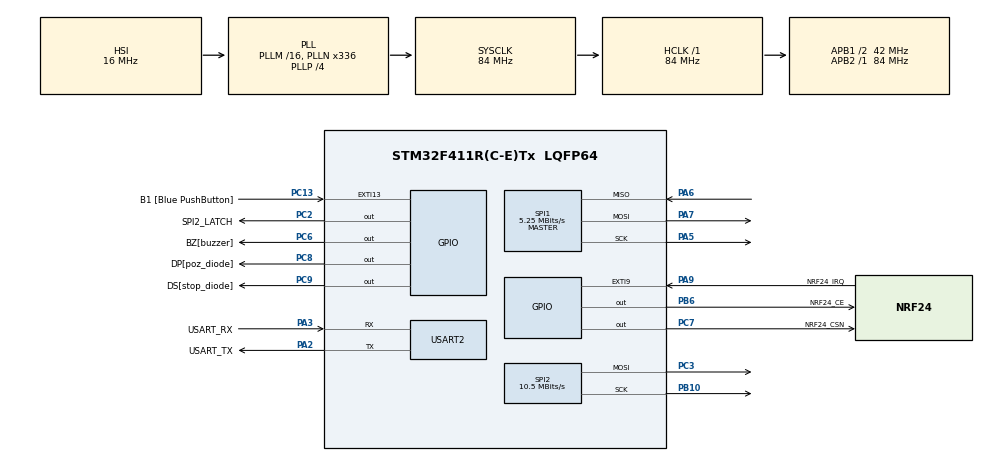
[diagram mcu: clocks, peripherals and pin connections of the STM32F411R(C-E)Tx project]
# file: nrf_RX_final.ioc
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Mcu.Family=STM32F4
Mcu.Name=STM32F411R(C-E)Tx
Mcu.Package=LQFP64
NVIC.PriorityGroup=NVIC_PRIORITYGROUP_0
PA13.GPIO_Label=TMS
PA13.Mode=Serial_Wire
PA13.Signal=SYS_JTMS-SWDIO
PA14.GPIO_Label=TCK
PA14.Mode=Serial_Wire
PA14.Signal=SYS_JTCK-SWCLK
PA2.GPIO_Label=USART_TX
PA2.Mode=Asynchronous
PA2.Signal=USART2_TX
PA3.GPIO_Label=USART_RX
PA3.Mode=Asynchronous
PA3.Signal=USART2_RX
PA5.Mode=Full_Duplex_Master
PA5.Signal=SPI1_SCK
PA6.Mode=Full_Duplex_Master
PA6.Signal=SPI1_MISO
PA7.Mode=Full_Duplex_Master
PA7.Signal=SPI1_MOSI
PA9.GPIO_Label=NRF24_IRQ
PA9.Signal=GPXTI9
PB10.Mode=TX_Only_Simplex_Unidirect_Master
PB10.Signal=SPI2_SCK
PB3.GPIO_Label=SWO
PB3.Signal=SYS_JTDO-SWO
PB6.GPIO_Label=NRF24_CE
PB6.Signal=GPIO_Output
PC13-ANTI_TAMP.GPIO_Label=B1 [Blue PushButton]
PC13-ANTI_TAMP.GPIO_ModeDefaultEXTI=GPIO_MODE_IT_FALLING
PC13-ANTI_TAMP.Signal=GPXTI13
PC14-OSC32_IN.Mode=LSE-External-Oscillator
PC14-OSC32_IN.Signal=RCC_OSC32_IN
PC15-OSC32_OUT.Mode=LSE-External-Oscillator
PC15-OSC32_OUT.Signal=RCC_OSC32_OUT
PC2.GPIO_Label=SPI2_LATCH
PC2.Signal=GPIO_Output
PC3.Mode=TX_Only_Simplex_Unidirect_Master
PC3.Signal=SPI2_MOSI
PC6.GPIO_Label=BZ[buzzer]
PC6.Signal=GPIO_Output
PC7.GPIO_Label=NRF24_CSN
PC7.Signal=GPIO_Output
PC8.GPIO_Label=DP[poz_diode]
PC8.Signal=GPIO_Output
PC9.GPIO_Label=DS[stop_diode]
PC9.Signal=GPIO_Output
PH0\ -\ OSC_IN.Mode=HSE-External-Clock-Source
PH0\ -\ OSC_IN.Signal=RCC_OSC_IN
PH1\ -\ OSC_OUT.Mode=HSE-External-Clock-Source
PH1\ -\ OSC_OUT.Signal=RCC_OSC_OUT
ProjectManager.HeapSize=0x200
ProjectManager.StackSize=0x400
ProjectManager.TargetToolchain=STM32CubeIDE
RCC.48MHZClocksFreq_Value=84000000
RCC.AHBFreq_Value=84000000
RCC.APB1CLKDivider=RCC_HCLK_DIV2
RCC.APB1Freq_Value=42000000
RCC.APB1TimFreq_Value=84000000
RCC.APB2Freq_Value=84000000
RCC.APB2TimFreq_Value=84000000
RCC.CortexFreq_Value=84000000
RCC.FLatency-AdvancedSettings=FLASH_LATENCY_2
RCC.HCLKFreq_Value=84000000
RCC.HSE_VALUE=8000000
RCC.HSI_VALUE=16000000
RCC.PLLN=336
RCC.PLLP=RCC_PLLP_DIV4
RCC.PWR_Regulator_Voltage_Scale=PWR_REGULATOR_VOLTAGE_SCALE2
RCC.SYSCLKFreq_VALUE=84000000
RCC.SYSCLKSource=RCC_SYSCLKSOURCE_PLLCLK
RCC.VCOOutputFreq_Value=336000000
SPI1.BaudRatePrescaler=SPI_BAUDRATEPRESCALER_16
SPI1.CalculateBaudRate=5.25 MBits/s
SPI1.Direction=SPI_DIRECTION_2LINES
SPI1.Mode=SPI_MODE_MASTER
SPI1.VirtualType=VM_MASTER
SPI2.BaudRatePrescaler=SPI_BAUDRATEPRESCALER_4
SPI2.CalculateBaudRate=10.5 MBits/s
SPI2.Direction=SPI_DIRECTION_2LINES
SPI2.Mode=SPI_MODE_MASTER
SPI2.VirtualType=VM_MASTER
USART2.VirtualMode=VM_ASYNC
board=NUCLEO-F411RE

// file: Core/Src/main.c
/* USER CODE BEGIN Header */
/**
  ******************************************************************************
  * @file           : main.c
  * @brief          : Main program body
  ******************************************************************************
  * @attention
  *
  * Copyright (c) 2022 STMicroelectronics.
  * All rights reserved.
  *
  * This software is licensed under terms that can be found in the LICENSE file
  * in the root directory of this software component.
  * If no LICENSE file comes with this software, it is provided AS-IS.
  *
  ******************************************************************************
  */
/* USER CODE END Header */
#include "main.h"
#include "spi.h"
#include "usart.h"
#include "gpio.h"

/* USER CODE BEGIN Includes */
#include "stdio.h"
#include "nRF24_Defs.h"
#include "nRF24.h"
#include "string.h"
#include "stdio.h"
#include "light_functions_RX.h"

/* USER CODE END Includes */

/* USER CODE BEGIN PD */

//for logic switch, value of message from nRF
#define MESSAGE_LIGHT_INIT 0x00				//default value
#define MESSAGE_LIGHT_STOP_SET 0x32
#define MESSAGE_LIGHT_STOP_RESET 0x33
#define MESSAGE_LIGHT_EMERGENCY 0x34
#define MESSAGE_LIGHT_LEFT 0x36
#define MESSAGE_LIGHT_RIGHT 0x38

/* USER CODE END PD */

/* USER CODE BEGIN PV */
//extern volatile uint8_t nrf24_rx_flag, nrf24_tx_flag, nrf24_mr_flag;
extern uint8_t Nrf24_Message[NRF24_PAYLOAD_SIZE];
extern uint8_t Message[32];
uint8_t light = 0;

//UART///
int __io_putchar(int ch){
  if (ch == '\n') {
    __io_putchar('\r');
  }
  HAL_UART_Transmit(&huart2, (uint8_t*)&ch, 1, HAL_MAX_DELAY);
  return 1;
}

/* USER CODE END PV */

void SystemClock_Config(void);

int main(void)
{

  /* MCU Configuration--------------------------------------------------------*/

  /* Reset of all peripherals, Initializes the Flash interface and the Systick. */
  HAL_Init();

  /* Configure the system clock */
  SystemClock_Config();

  /* Initialize all configured peripherals */
  MX_GPIO_Init();
  MX_USART2_UART_Init();
  MX_SPI1_Init();
  MX_SPI2_Init();
  /* USER CODE BEGIN 2 */
  nRF24_Init(&hspi1);

  nRF24_SetRXAddress(0, "Odb");
  nRF24_SetTXAddress("Nad");
  nRF24_RX_Mode();

  //prepare init board
  turning_diode_reset();
  position_lights_set();
  board_ready_to_recive_voice();

  /* USER CODE END 2 */

  /* Infinite loop */
  /* USER CODE BEGIN WHILE */
  while (1)
  {
	  if(nRF24_RXAvailible())
	  {
	  nRF24_ReadRXPaylaod(Nrf24_Message);
	  //MessageLength = sprintf(Message, "%c\n\r", Nrf24_Message[0]);
	  //HAL_UART_Transmit(&huart2, Message, MessageLength, 1000);
	  switch(Nrf24_Message[0])
	  {
	  	  //stop_start
	  	  case MESSAGE_LIGHT_STOP_SET:
	  		  stop_light_set();
	  		  break;
	  	  //stop_end
	  	  case MESSAGE_LIGHT_STOP_RESET:
	  		  stop_light_reset();
	  		  break;
	  	  //emergency_start
	  	  case MESSAGE_LIGHT_EMERGENCY:
	  		  emergency_lights_logic();
	  		  break;
	  	  //left_turning_start
	  	  case MESSAGE_LIGHT_LEFT:
	  		  turn_left_lights_logic();
	  		  break;
	  	  //right_turning_start
	  	  case MESSAGE_LIGHT_RIGHT:
	  		  turn_right_lights_logic();
	  		  break;
	  	  //do nothing
	  	  case MESSAGE_LIGHT_INIT:
	  		  while(Nrf24_Message[0] == MESSAGE_LIGHT_INIT)
	  		  {
	  			  __NOP();
	  		  }
	  }
	  Nrf24_Message[0] = MESSAGE_LIGHT_INIT;
	  }
  }
}
    /* USER CODE END WHILE */

void SystemClock_Config(void)
{
  RCC_OscInitTypeDef RCC_OscInitStruct = {0};
  RCC_ClkInitTypeDef RCC_ClkInitStruct = {0};

  /** Configure the main internal regulator output voltage
  */
  __HAL_RCC_PWR_CLK_ENABLE();
  __HAL_PWR_VOLTAGESCALING_CONFIG(PWR_REGULATOR_VOLTAGE_SCALE2);

  /** Initializes the RCC Oscillators according to the specified parameters
  * in the RCC_OscInitTypeDef structure.
  */
  RCC_OscInitStruct.OscillatorType = RCC_OSCILLATORTYPE_HSI;
  RCC_OscInitStruct.HSIState = RCC_HSI_ON;
  RCC_OscInitStruct.HSICalibrationValue = RCC_HSICALIBRATION_DEFAULT;
  RCC_OscInitStruct.PLL.PLLState = RCC_PLL_ON;
  RCC_OscInitStruct.PLL.PLLSource = RCC_PLLSOURCE_HSI;
  RCC_OscInitStruct.PLL.PLLM = 16;
  RCC_OscInitStruct.PLL.PLLN = 336;
  RCC_OscInitStruct.PLL.PLLP = RCC_PLLP_DIV4;
  RCC_OscInitStruct.PLL.PLLQ = 4;
  if (HAL_RCC_OscConfig(&RCC_OscInitStruct) != HAL_OK)
  {
    Error_Handler();
  }

  /** Initializes the CPU, AHB and APB buses clocks
  */
  RCC_ClkInitStruct.ClockType = RCC_CLOCKTYPE_HCLK|RCC_CLOCKTYPE_SYSCLK
                              |RCC_CLOCKTYPE_PCLK1|RCC_CLOCKTYPE_PCLK2;
  RCC_ClkInitStruct.SYSCLKSource = RCC_SYSCLKSOURCE_PLLCLK;
  RCC_ClkInitStruct.AHBCLKDivider = RCC_SYSCLK_DIV1;
  RCC_ClkInitStruct.APB1CLKDivider = RCC_HCLK_DIV2;
  RCC_ClkInitStruct.APB2CLKDivider = RCC_HCLK_DIV1;

  if (HAL_RCC_ClockConfig(&RCC_ClkInitStruct, FLASH_LATENCY_2) != HAL_OK)
  {
    Error_Handler();
  }
}

void Error_Handler(void)
{
  __disable_irq();
  while (1)
  {
  }
}
